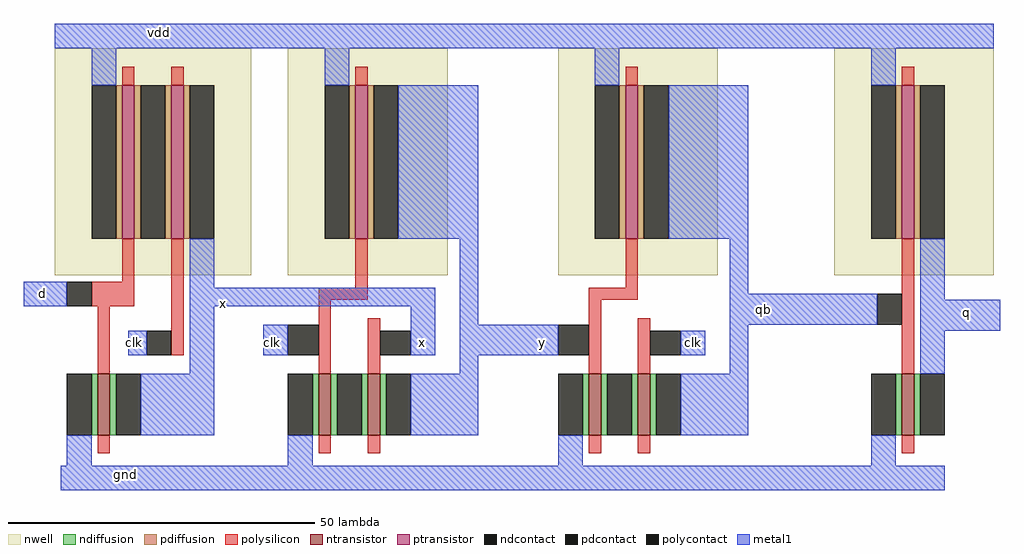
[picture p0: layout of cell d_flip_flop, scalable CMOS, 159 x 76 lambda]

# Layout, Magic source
magic
tech scmos
<< nwell >>
rect -33 -8 -1 29
rect 5 -8 31 29
rect 49 -8 75 29
rect 94 -8 120 29
<< ntransistor >>
rect -26 -34 -24 -24
rect 10 -34 12 -24
rect 18 -34 20 -24
rect 54 -34 56 -24
rect 62 -34 64 -24
rect 105 -34 107 -24
<< ptransistor >>
rect -22 -2 -20 23
rect -14 -2 -12 23
rect 16 -2 18 23
rect 60 -2 62 23
rect 105 -2 107 23
<< ndiffusion >>
rect -27 -34 -26 -24
rect -24 -34 -23 -24
rect 9 -34 10 -24
rect 12 -34 13 -24
rect 17 -34 18 -24
rect 20 -34 21 -24
rect 53 -34 54 -24
rect 56 -34 57 -24
rect 61 -34 62 -24
rect 64 -34 65 -24
rect 104 -34 105 -24
rect 107 -34 108 -24
<< pdiffusion >>
rect -23 -2 -22 23
rect -20 -2 -19 23
rect -15 -2 -14 23
rect -12 -2 -11 23
rect 15 -2 16 23
rect 18 -2 19 23
rect 59 -2 60 23
rect 62 -2 63 23
rect 104 -2 105 23
rect 107 -2 108 23
<< ndcontact >>
rect -31 -34 -27 -24
rect -23 -34 -19 -24
rect 5 -34 9 -24
rect 13 -34 17 -24
rect 21 -34 25 -24
rect 49 -34 53 -24
rect 57 -34 61 -24
rect 65 -34 69 -24
rect 100 -34 104 -24
rect 108 -34 112 -24
<< pdcontact >>
rect -27 -2 -23 23
rect -19 -2 -15 23
rect -11 -2 -7 23
rect 11 -2 15 23
rect 19 -2 23 23
rect 55 -2 59 23
rect 63 -2 67 23
rect 100 -2 104 23
rect 108 -2 112 23
<< polysilicon >>
rect -22 23 -20 26
rect -14 23 -12 26
rect 16 23 18 26
rect 60 23 62 26
rect 105 23 107 26
rect -22 -9 -20 -2
rect -27 -13 -20 -9
rect -26 -24 -24 -13
rect -14 -21 -12 -2
rect 16 -10 18 -2
rect 60 -10 62 -2
rect 10 -12 18 -10
rect 54 -12 62 -10
rect 10 -24 12 -12
rect 18 -24 20 -15
rect 54 -24 56 -12
rect 62 -24 64 -15
rect 105 -24 107 -2
rect -26 -37 -24 -34
rect 10 -37 12 -34
rect 18 -37 20 -34
rect 54 -37 56 -34
rect 62 -37 64 -34
rect 105 -37 107 -34
<< polycontact >>
rect -31 -13 -27 -9
rect -18 -21 -14 -17
rect 5 -21 10 -16
rect 20 -21 25 -17
rect 49 -21 54 -16
rect 101 -16 105 -11
rect 64 -21 69 -17
<< metal1 >>
rect -33 29 120 33
rect -27 23 -23 29
rect 11 23 15 29
rect 55 23 59 29
rect 100 23 104 29
rect 23 -2 36 23
rect 67 -2 80 23
rect -38 -13 -31 -9
rect -11 -10 -7 -2
rect -11 -13 29 -10
rect -21 -21 -18 -17
rect -11 -24 -7 -13
rect 1 -21 5 -16
rect 25 -21 29 -13
rect 33 -16 36 -2
rect 77 -11 80 -2
rect 77 -16 101 -11
rect 108 -12 112 -2
rect 33 -21 49 -16
rect 69 -21 73 -17
rect 33 -24 36 -21
rect 77 -24 80 -16
rect 108 -17 121 -12
rect 108 -24 112 -17
rect -19 -34 -7 -24
rect 25 -34 36 -24
rect 69 -34 80 -24
rect -31 -39 -27 -34
rect 5 -39 9 -34
rect 49 -39 53 -34
rect 100 -39 104 -34
rect -32 -43 112 -39
<< labels >>
rlabel metal1 -21 -20 -19 -18 1 clk
rlabel metal1 -36 -12 -34 -10 2 d
rlabel metal1 -23 -41 -20 -40 1 gnd
rlabel metal1 -17 31 -15 32 5 vdd
rlabel metal1 2 -20 3 -18 1 clk
rlabel metal1 -6 -13 -5 -12 1 x
rlabel metal1 26 -20 28 -18 7 x
rlabel metal1 46 -20 47 -18 1 y
rlabel metal1 82 -14 83 -13 1 qb
rlabel metal1 114 -15 117 -13 1 q
rlabel metal1 70 -20 72 -18 1 clk
<< end >>
